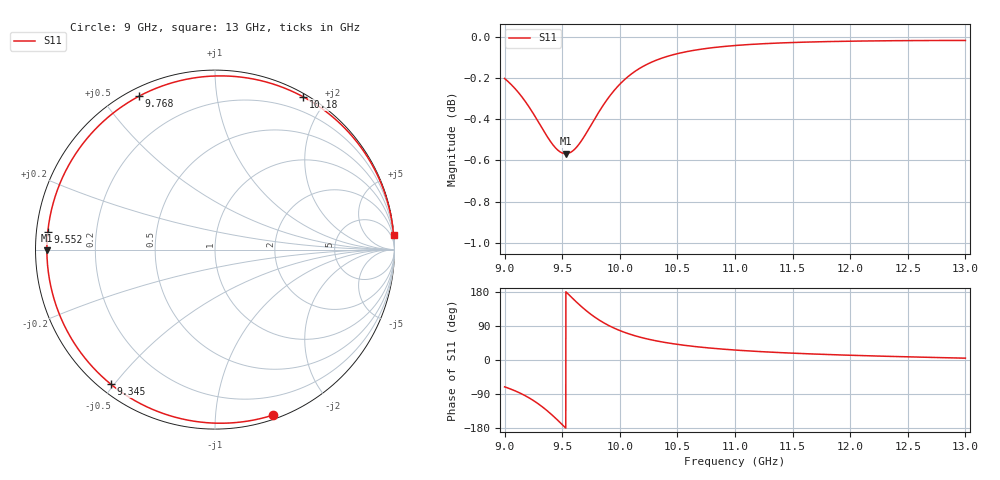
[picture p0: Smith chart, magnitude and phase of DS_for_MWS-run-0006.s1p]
! TOUCHSTONE file generated by CST DESIGN STUDIO
! Date and time: Wed Feb  5 13:31:17 2025
! Project name: C:\Work\MatlabApps\UnitCellOptimizationMatlab\CST\unitcell.cst
! Tree item: Tasks\Sweep1\SPara1\S-Parameters
! Header version: 2024
! Port assignment regex: !\s*Touchstone port\s*([0-9]+)\s*=\s*(CST MWS port|CST DES external port|CST DES block port)\s*(.+)\s* \(\"(.*)\"\)(\s*mode\s*([0-9]+))?.*
! Touchstone port assignment:
! Touchstone port 1 = CST DES external port 1 ("")
# GHz S MA R 50
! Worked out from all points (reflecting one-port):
!   4001 points, 9 GHz to 13 GHz, reference 50 ohm
!   lowest |S11| = -0.6 dB at 9.531 GHz (marker M1), VSWR 30.63, Z = 1.63 - j0.124 ohm
!   phase of S11 starts at -71 deg and turns -284 deg over the sweep
!   S11 on the Smith chart (normalised r, x): 9 GHz: 0.03, -1.41; 9.345 GHz: 0.03, -0.49; 9.552 GHz: 0.03, +0.05; 9.768 GHz: 0.03, +0.62; 10.18 GHz: 0.03, +1.74; 13 GHz: 1, +24
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9  0.9771 -70.8
9.096  0.9712 -82.1
9.203  0.9625 -98.3
9.277  0.9553 -112.4
9.345  0.9483 -127.8
9.418  0.9416 -146.7
9.461  0.9387 -158.9
9.5  0.9372 -170.4
9.531  0.9368 -179.7
9.552  0.937 174.0
9.606  0.939 158.0
9.666  0.9435 141.2
9.717  0.9484 128.1
9.768  0.9537 116.3
9.817  0.9588 106.2
9.87  0.9638 96.5
9.935  0.9693 86.3
10  0.9739 77.7
10.086  0.9788 68.2
10.18  0.9829 59.9
10.326  0.9874 49.9
10.5  0.9907 41.2
10.721  0.9934 33.3
11  0.9953 26.3
11.5  0.9969 18.0
12  0.9977 12.5
12.5  0.998 8.3
13  0.9981 4.8
